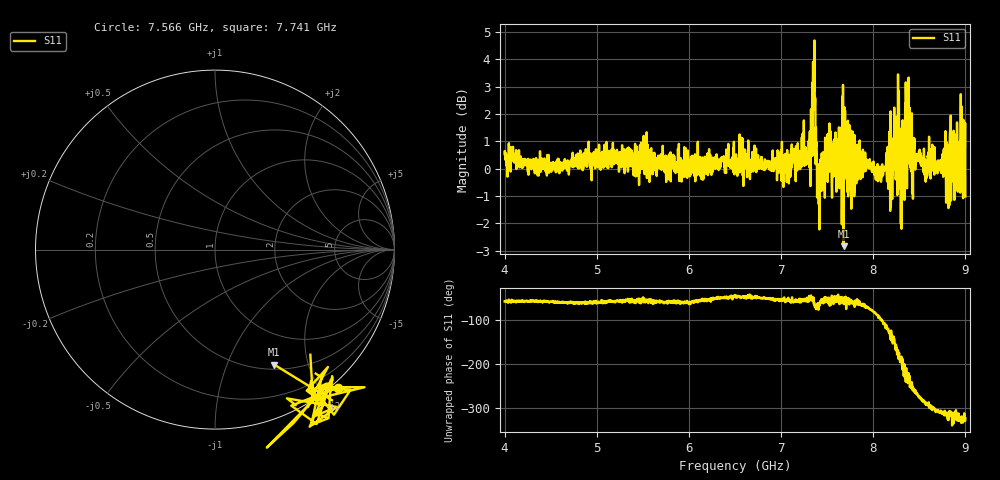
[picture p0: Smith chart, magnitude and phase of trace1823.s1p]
! Created with skrf 1.8.0 (http://scikit-rf.org).
# Hz S RI R 50.0
!freq ReS11 ImS11
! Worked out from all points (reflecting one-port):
!   1601 points, 4 GHz to 9 GHz, reference 50 ohm
!   lowest |S11| = -2.8 dB at 7.678 GHz (marker M1), VSWR 6.18, Z = 27.9 - j74.6 ohm
!   phase of S11 starts at -58 deg and turns -266 deg over the sweep
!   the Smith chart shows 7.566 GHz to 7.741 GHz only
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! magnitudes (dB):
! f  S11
! 4 GHz  0.5
! 4.625 GHz  -0.1
! 5.25 GHz  0.2
! 5.875 GHz  0.0
! 6.5 GHz  0.1
! 7.125 GHz  0.2
! 7.294 GHz  0.3
! 7.316 GHz  -0.4
! 7.347 GHz  3.9
! 7.369 GHz  2.6
! 7.394 GHz  0.0
! 7.412 GHz  -0.3
! 7.512 GHz  1.3
! 7.575 GHz  0.0
! 7.678 GHz  -2.8
! 7.75 GHz  0.2
! 8.103 GHz  0.0
! 8.209 GHz  0.4
! 8.253 GHz  0.5
! 8.316 GHz  1.3
! 8.334 GHz  0.7
! 8.347 GHz  2.4
! 8.375 GHz  1.7
! 8.431 GHz  -1.1
! 8.562 GHz  -0.2
! 8.869 GHz  -0.5
! 8.972 GHz  0.5
! 9 GHz  -1.0
